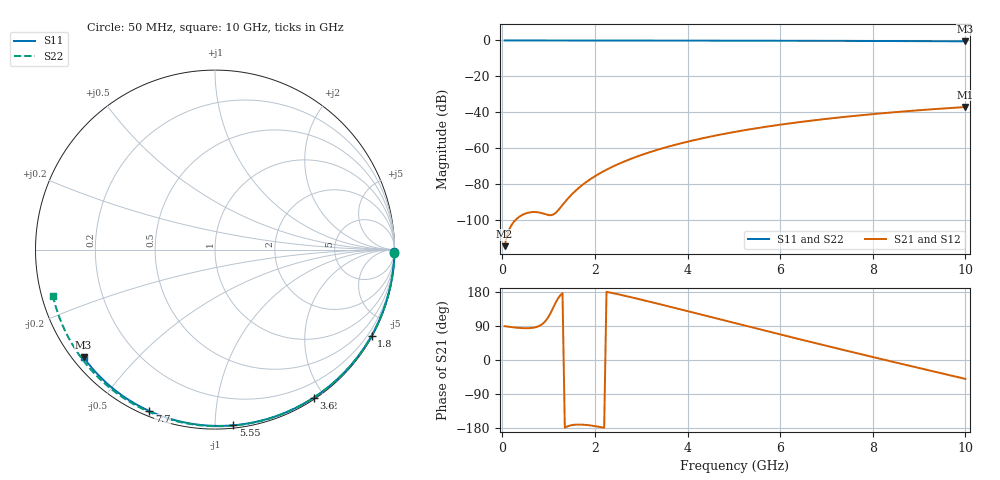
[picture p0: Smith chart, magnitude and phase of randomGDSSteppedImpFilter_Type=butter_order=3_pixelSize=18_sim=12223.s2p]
! freq	dB(S11)	phase(S11)	dB(S12)	phase(S12)
!  dB(S21)	phase(S21)	dB(S22)	phase(S22)
!S-par simulation data
#  GHz  S  DB  R 50
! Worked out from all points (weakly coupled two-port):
!   200 points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, 50 MHz to 10 GHz, reference 50 ohm
!   highest |S21| = -37.05 dB at 10 GHz (marker M1); lowest = -114.5 dB at 50 MHz (marker M2)
!   lowest |S11| = -0.5 dB at 10 GHz (marker M3), VSWR 36.39, Z = 1.55 - j17.9 ohm
!   |S11| at or under -10 dB: nowhere
!   |S22| runs from -0.5 to 0.0 dB; largest |S21 - S12| = 0
!   S11 on the Smith chart (normalised r, x): 50 MHz: open; 1.8 GHz: 0.03, -3.89; 3.6 GHz: 0.02, -1.87; 5.55 GHz: 0.02, -1.11; 7.7 GHz: 0.02, -0.67; 10 GHz: 0.03, -0.36
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0.05  -0.00 -0.8  -114.49 89.2  -114.49 89.2  -0.00 -1.0
0.45  -0.01 -7.3  -96.87 84.0  -96.87 84.0  -0.01 -8.6
0.85  -0.02 -13.8  -96.07 93.6  -96.07 93.6  -0.02 -16.1
1.3  -0.03 -21.0  -91.58 176.7  -91.58 176.7  -0.03 -24.5
1.75  -0.04 -28.1  -80.00 -170.8  -80.00 -170.8  -0.04 -32.8
1.8  -0.04 -28.9  -79.04 -171.3  -79.04 -171.3  -0.04 -33.8
1.95  -0.04 -31.2  -76.39 -173.5  -76.39 -173.5  -0.05 -36.5
2.1  -0.04 -33.5  -74.04 -176.5  -74.04 -176.5  -0.05 -39.2
2.3  -0.05 -36.7  -71.28 178.7  -71.28 178.7  -0.05 -42.8
2.5  -0.05 -39.7  -68.85 173.5  -68.85 173.5  -0.06 -46.4
2.9  -0.06 -45.9  -64.70 162.2  -64.70 162.2  -0.07 -53.5
3.4  -0.07 -53.4  -60.47 147.3  -60.47 147.3  -0.08 -62.2
3.6  -0.08 -56.3  -59.00 141.2  -59.00 141.2  -0.09 -65.6
4.3  -0.09 -66.5  -54.57 119.7  -54.57 119.7  -0.11 -77.3
5.05  -0.12 -77.1  -50.75 96.6  -50.75 96.6  -0.14 -89.5
5.55  -0.14 -84.0  -48.60 81.2  -48.60 81.2  -0.16 -97.4
6.1  -0.16 -91.4  -46.52 64.5  -46.52 64.5  -0.19 -105.9
6.7  -0.19 -99.3  -44.53 46.4  -44.53 46.4  -0.22 -115.0
7.7  -0.26 -112.1  -41.73 16.6  -41.73 16.6  -0.30 -129.8
8.35  -0.31 -120.3  -40.19 -2.4  -40.19 -2.4  -0.36 -139.4
9.2  -0.39 -130.8  -38.44 -26.9  -38.44 -26.9  -0.45 -152.0
10  -0.48 -140.6  -37.05 -49.9  -37.05 -49.9  -0.55 -164.1
